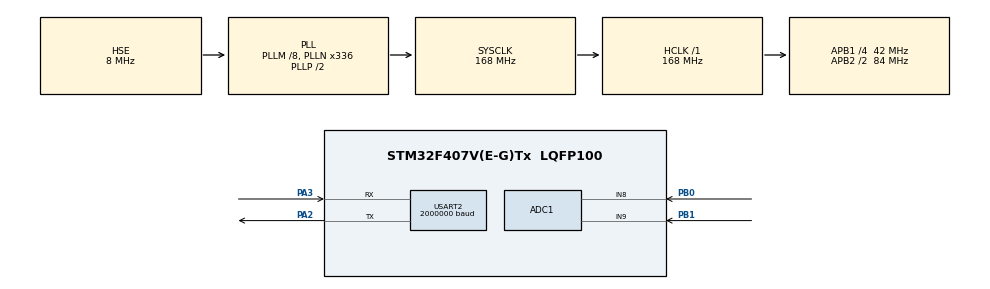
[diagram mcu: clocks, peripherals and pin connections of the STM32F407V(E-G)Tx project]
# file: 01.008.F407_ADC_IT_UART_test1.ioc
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ADC1.Channel-3\#ChannelRegularConversion=ADC_CHANNEL_8
ADC1.Channel-4\#ChannelRegularConversion=ADC_CHANNEL_9
ADC1.ContinuousConvMode=ENABLE
ADC1.NbrOfConversion=2
ADC1.NbrOfConversionFlag=1
ADC1.Rank-3\#ChannelRegularConversion=1
ADC1.Rank-4\#ChannelRegularConversion=2
ADC1.SamplingTime-3\#ChannelRegularConversion=ADC_SAMPLETIME_15CYCLES
ADC1.SamplingTime-4\#ChannelRegularConversion=ADC_SAMPLETIME_15CYCLES
ADC1.master=1
Dma.Request0=USART2_TX
Dma.Request1=USART2_RX
Dma.USART2_RX.1.Direction=DMA_PERIPH_TO_MEMORY
Dma.USART2_RX.1.FIFOMode=DMA_FIFOMODE_DISABLE
Dma.USART2_RX.1.Instance=DMA1_Stream5
Dma.USART2_RX.1.MemDataAlignment=DMA_MDATAALIGN_BYTE
Dma.USART2_RX.1.MemInc=DMA_MINC_ENABLE
Dma.USART2_RX.1.Mode=DMA_CIRCULAR
Dma.USART2_RX.1.PeriphDataAlignment=DMA_PDATAALIGN_BYTE
Dma.USART2_RX.1.PeriphInc=DMA_PINC_DISABLE
Dma.USART2_RX.1.Priority=DMA_PRIORITY_LOW
Dma.USART2_TX.0.Direction=DMA_MEMORY_TO_PERIPH
Dma.USART2_TX.0.FIFOMode=DMA_FIFOMODE_DISABLE
Dma.USART2_TX.0.Instance=DMA1_Stream6
Dma.USART2_TX.0.MemDataAlignment=DMA_MDATAALIGN_BYTE
Dma.USART2_TX.0.MemInc=DMA_MINC_ENABLE
Dma.USART2_TX.0.Mode=DMA_NORMAL
Dma.USART2_TX.0.PeriphDataAlignment=DMA_PDATAALIGN_BYTE
Dma.USART2_TX.0.PeriphInc=DMA_PINC_DISABLE
Dma.USART2_TX.0.Priority=DMA_PRIORITY_LOW
Mcu.Family=STM32F4
Mcu.Name=STM32F407V(E-G)Tx
Mcu.Package=LQFP100
NVIC.ADC_IRQn=true\:0\:0\:false\:false\:true\:true\:true\:true
NVIC.DMA1_Stream5_IRQn=true\:0\:0\:false\:false\:true\:false\:true\:true
NVIC.DMA1_Stream6_IRQn=true\:0\:0\:false\:false\:true\:false\:true\:true
NVIC.PriorityGroup=NVIC_PRIORITYGROUP_0
NVIC.USART2_IRQn=true\:0\:0\:false\:false\:true\:true\:true\:true
PA2.Mode=Asynchronous
PA2.Signal=USART2_TX
PA3.Mode=Asynchronous
PA3.Signal=USART2_RX
PB0.Signal=ADCx_IN8
PB1.Signal=ADCx_IN9
PH0-OSC_IN.Mode=HSE-External-Oscillator
PH0-OSC_IN.Signal=RCC_OSC_IN
PH1-OSC_OUT.Mode=HSE-External-Oscillator
PH1-OSC_OUT.Signal=RCC_OSC_OUT
ProjectManager.HeapSize=0x200
ProjectManager.StackSize=0x400
ProjectManager.TargetToolchain=STM32CubeIDE
RCC.48MHZClocksFreq_Value=48000000
RCC.AHBFreq_Value=168000000
RCC.APB1CLKDivider=RCC_HCLK_DIV4
RCC.APB1Freq_Value=42000000
RCC.APB1TimFreq_Value=84000000
RCC.APB2CLKDivider=RCC_HCLK_DIV2
RCC.APB2Freq_Value=84000000
RCC.APB2TimFreq_Value=168000000
RCC.CortexFreq_Value=168000000
RCC.HCLKFreq_Value=168000000
RCC.HSE_VALUE=8000000
RCC.HSI_VALUE=16000000
RCC.LSE_VALUE=32768
RCC.PLLM=8
RCC.PLLN=336
RCC.PLLQ=7
RCC.PLLSourceVirtual=RCC_PLLSOURCE_HSE
RCC.SYSCLKFreq_VALUE=168000000
RCC.SYSCLKSource=RCC_SYSCLKSOURCE_PLLCLK
RCC.VCOOutputFreq_Value=336000000
SH.ADCx_IN8.0=ADC1_IN8,IN8
SH.ADCx_IN9.0=ADC1_IN9,IN9
USART2.BaudRate=2000000
USART2.VirtualMode=VM_ASYNC
board=STM32F407G-DISC1

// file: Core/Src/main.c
/* USER CODE BEGIN Header */
/**
  ******************************************************************************
  * @file           : main.c
  * @brief          : Main program body
  ******************************************************************************
  * @attention
  *
  * Copyright (c) 2025 STMicroelectronics.
  * All rights reserved.
  *
  * This software is licensed under terms that can be found in the LICENSE file
  * in the root directory of this software component.
  * If no LICENSE file comes with this software, it is provided AS-IS.
  *
  ******************************************************************************
  */
/* USER CODE END Header */
#include "main.h"

/* USER CODE BEGIN Includes */

/*
 * Project is Interrupt ADC multichannel read(IN8,IN9)
 * ADC1 AN8(PB0) and AN9(PB1) activated and read separately. Rank:1 for IN8, and
 * Rank:2 for IN9 adjustments were important(Number of Conversion: 2 in Mx and
 * Scan Conversion Mode: Enabled, Continous Conversion Mode: Enabled).
 * void HAL_ADC_ConvCpltCallback(ADC_HandleTypeDef *hadc) entered after each
 * conversion. HAL_ADC_Start_IT(&hadc1); should be inside the while loop. I did
 * not work before while loop. Entered 1 time, did not enter continuously as referred
 * in "Steppe School"
 *
 * while (1)
  {
	  HAL_ADC_Start_IT(&hadc1);
	  HAL_Delay(1);
  }

 */
#include <stdio.h>
#include <string.h>
#include <stddef.h>
#include <stdarg.h>
#include <stdbool.h>
#include <stdlib.h>
/* USER CODE END Includes */

ADC_HandleTypeDef hadc1;

UART_HandleTypeDef huart4;
DMA_HandleTypeDef hdma_usart2_tx;
DMA_HandleTypeDef hdma_usart2_rx;

/* USER CODE BEGIN PV */
uint8_t dma_rx_buffer[64];
uint16_t old_pos = 0;

uint16_t IN8_PB0 = 0;
uint16_t IN9_PB1 = 0;
/* USER CODE END PV */

void SystemClock_Config(void);
static void MX_GPIO_Init(void);
static void MX_DMA_Init(void);
static void MX_USART2_UART_Init(void);
static void MX_ADC1_Init(void);

/* USER CODE BEGIN 0 */
void DebugPrint(const char *format, ...)
{
    static char uartBuffer[250];  // <--- persists after function returns
    va_list args;
    va_start(args, format);
    vsnprintf(uartBuffer, sizeof(uartBuffer), format, args);
    va_end(args);

    HAL_UART_Transmit_DMA(&huart4, (uint8_t*)uartBuffer, strlen(uartBuffer));
}

void check_dma_data(void) {
    uint16_t pos = sizeof(dma_rx_buffer) - __HAL_DMA_GET_COUNTER(&hdma_usart2_rx);

    if (pos != old_pos) {
        if (pos > old_pos) {
            // Print new data
            for (uint16_t i = old_pos; i < pos; i++) {
                DebugPrint("\r\nGot: '%c' (0x%02X) at pos %d\r\n\r\n",
                       dma_rx_buffer[i], dma_rx_buffer[i], i);

            }
        }
        old_pos = pos;
    }
}

/**
 * @brief Convert ADC raw value to voltage
 * @param adc_raw: Raw ADC value (0-4095)
 * @retval float: Voltage (0.0-3.3V)
 */
float adc_to_voltage(uint16_t adc_raw)
{
    return ((float)adc_raw * 3.3f) / 4095.0f;
}

/* USER CODE END 0 */

int main(void)
{

  /* MCU Configuration--------------------------------------------------------*/

  /* Reset of all peripherals, Initializes the Flash interface and the Systick. */
  HAL_Init();

  /* Configure the system clock */
  SystemClock_Config();

  /* Initialize all configured peripherals */
  MX_GPIO_Init();
  MX_DMA_Init();
  MX_USART2_UART_Init();
  MX_ADC1_Init();
  /* USER CODE BEGIN 2 */
  HAL_UART_Receive_DMA(&huart4, dma_rx_buffer, sizeof(dma_rx_buffer));
  DebugPrint("DMA started! Type something...\r\n\r\n");

//  HAL_ADC_Start_IT(&hadc1);
//  HAL_ADCEX_CALIBRATION_START(&HADC1,ADC_SINGLE_ENDED);	//The function is NOT available on STM32F4 series! This function only exists on newer STM32 families like F3, L4, G4, H7, etc.
  /* USER CODE END 2 */

  /* Infinite loop */
  while (1)
  {

    /* USER CODE BEGIN 3 */
	  HAL_ADC_Start_IT(&hadc1);
	  HAL_Delay(1);

//	  check_dma_data();

  }
  /* USER CODE END 3 */
}

void SystemClock_Config(void)
{
  RCC_OscInitTypeDef RCC_OscInitStruct = {0};
  RCC_ClkInitTypeDef RCC_ClkInitStruct = {0};

  /** Configure the main internal regulator output voltage
  */
  __HAL_RCC_PWR_CLK_ENABLE();
  __HAL_PWR_VOLTAGESCALING_CONFIG(PWR_REGULATOR_VOLTAGE_SCALE1);

  /** Initializes the RCC Oscillators according to the specified parameters
  * in the RCC_OscInitTypeDef structure.
  */
  RCC_OscInitStruct.OscillatorType = RCC_OSCILLATORTYPE_HSE;
  RCC_OscInitStruct.HSEState = RCC_HSE_ON;
  RCC_OscInitStruct.PLL.PLLState = RCC_PLL_ON;
  RCC_OscInitStruct.PLL.PLLSource = RCC_PLLSOURCE_HSE;
  RCC_OscInitStruct.PLL.PLLM = 8;
  RCC_OscInitStruct.PLL.PLLN = 336;
  RCC_OscInitStruct.PLL.PLLP = RCC_PLLP_DIV2;
  RCC_OscInitStruct.PLL.PLLQ = 7;
  if (HAL_RCC_OscConfig(&RCC_OscInitStruct) != HAL_OK)
  {
    Error_Handler();
  }

  /** Initializes the CPU, AHB and APB buses clocks
  */
  RCC_ClkInitStruct.ClockType = RCC_CLOCKTYPE_HCLK|RCC_CLOCKTYPE_SYSCLK
                              |RCC_CLOCKTYPE_PCLK1|RCC_CLOCKTYPE_PCLK2;
  RCC_ClkInitStruct.SYSCLKSource = RCC_SYSCLKSOURCE_PLLCLK;
  RCC_ClkInitStruct.AHBCLKDivider = RCC_SYSCLK_DIV1;
  RCC_ClkInitStruct.APB1CLKDivider = RCC_HCLK_DIV4;
  RCC_ClkInitStruct.APB2CLKDivider = RCC_HCLK_DIV2;

  if (HAL_RCC_ClockConfig(&RCC_ClkInitStruct, FLASH_LATENCY_5) != HAL_OK)
  {
    Error_Handler();
  }
}

static void MX_ADC1_Init(void)
{

  ADC_ChannelConfTypeDef sConfig = {0};

  /** Configure the global features of the ADC (Clock, Resolution, Data Alignment and number of conversion)
  */
  hadc1.Instance = ADC1;
  hadc1.Init.ClockPrescaler = ADC_CLOCK_SYNC_PCLK_DIV4;
  hadc1.Init.Resolution = ADC_RESOLUTION_12B;
  hadc1.Init.ScanConvMode = ENABLE;
  hadc1.Init.ContinuousConvMode = ENABLE;
  hadc1.Init.DiscontinuousConvMode = DISABLE;
  hadc1.Init.ExternalTrigConvEdge = ADC_EXTERNALTRIGCONVEDGE_NONE;
  hadc1.Init.ExternalTrigConv = ADC_SOFTWARE_START;
  hadc1.Init.DataAlign = ADC_DATAALIGN_RIGHT;
  hadc1.Init.NbrOfConversion = 2;
  hadc1.Init.DMAContinuousRequests = DISABLE;
  hadc1.Init.EOCSelection = ADC_EOC_SINGLE_CONV;
  if (HAL_ADC_Init(&hadc1) != HAL_OK)
  {
    Error_Handler();
  }

  /** Configure for the selected ADC regular channel its corresponding rank in the sequencer and its sample time.
  */
  sConfig.Channel = ADC_CHANNEL_8;
  sConfig.Rank = 1;
  sConfig.SamplingTime = ADC_SAMPLETIME_15CYCLES;
  if (HAL_ADC_ConfigChannel(&hadc1, &sConfig) != HAL_OK)
  {
    Error_Handler();
  }

  /** Configure for the selected ADC regular channel its corresponding rank in the sequencer and its sample time.
  */
  sConfig.Channel = ADC_CHANNEL_9;
  sConfig.Rank = 2;
  if (HAL_ADC_ConfigChannel(&hadc1, &sConfig) != HAL_OK)
  {
    Error_Handler();
  }

}

static void MX_USART2_UART_Init(void)
{

  huart4.Instance = USART2;
  huart4.Init.BaudRate = 2000000;
  huart4.Init.WordLength = UART_WORDLENGTH_8B;
  huart4.Init.StopBits = UART_STOPBITS_1;
  huart4.Init.Parity = UART_PARITY_NONE;
  huart4.Init.Mode = UART_MODE_TX_RX;
  huart4.Init.HwFlowCtl = UART_HWCONTROL_NONE;
  huart4.Init.OverSampling = UART_OVERSAMPLING_16;
  if (HAL_UART_Init(&huart4) != HAL_OK)
  {
    Error_Handler();
  }

}

static void MX_DMA_Init(void)
{

  /* DMA controller clock enable */
  __HAL_RCC_DMA1_CLK_ENABLE();

  /* DMA interrupt init */
  /* DMA1_Stream5_IRQn interrupt configuration */
  HAL_NVIC_SetPriority(DMA1_Stream5_IRQn, 0, 0);
  HAL_NVIC_EnableIRQ(DMA1_Stream5_IRQn);
  /* DMA1_Stream6_IRQn interrupt configuration */
  HAL_NVIC_SetPriority(DMA1_Stream6_IRQn, 0, 0);
  HAL_NVIC_EnableIRQ(DMA1_Stream6_IRQn);

}

static void MX_GPIO_Init(void)
{

  /* GPIO Ports Clock Enable */
  __HAL_RCC_GPIOH_CLK_ENABLE();
  __HAL_RCC_GPIOA_CLK_ENABLE();
  __HAL_RCC_GPIOB_CLK_ENABLE();

}

/* USER CODE BEGIN 4 */

void HAL_ADC_ConvCpltCallback(ADC_HandleTypeDef *hadc)
{
	static uint8_t counter;

	if(counter == 0)
	{
		IN8_PB0 = HAL_ADC_GetValue(&hadc1);
		DebugPrint("CH8: %d | %.3f V\r\n",IN8_PB0, adc_to_voltage(IN8_PB0));
		counter = 1;

	}
	else
	{
		IN9_PB1 = HAL_ADC_GetValue(&hadc1);
		DebugPrint("CH9: %d | %.3f V\r\n",IN9_PB1, adc_to_voltage(IN9_PB1));
		counter = 0;
	}

}

/* USER CODE END 4 */

void Error_Handler(void)
{
  __disable_irq();
  while (1)
  {
  }
}
